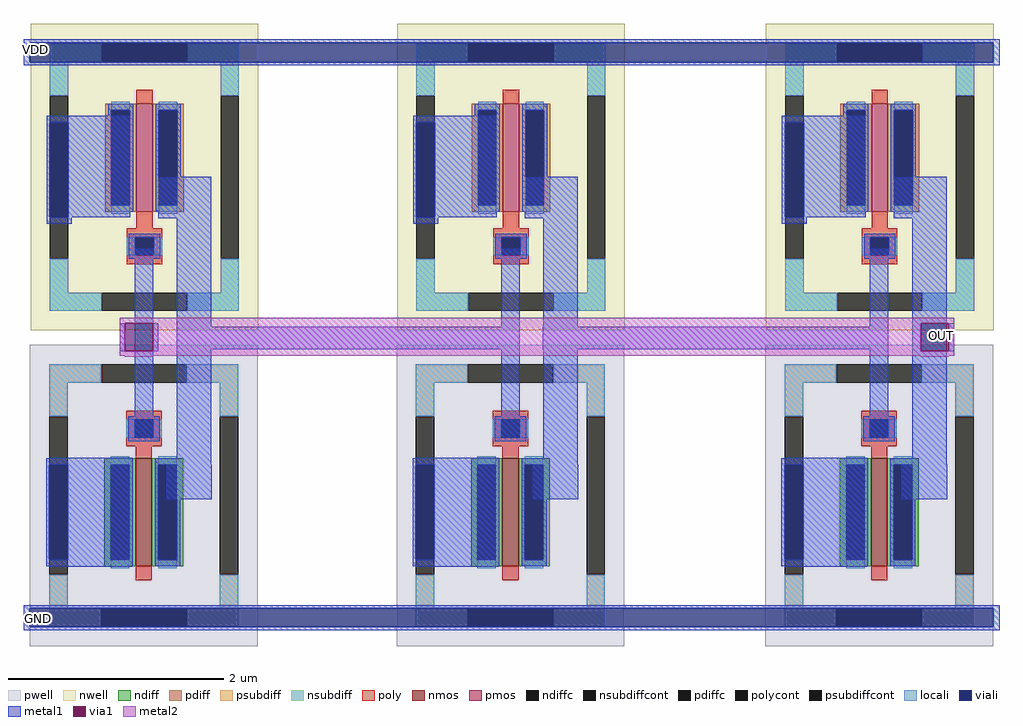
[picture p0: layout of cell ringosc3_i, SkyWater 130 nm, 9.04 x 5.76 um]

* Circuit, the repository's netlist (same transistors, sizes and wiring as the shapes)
** sch_path: /home/fauzann/latiahan1/ringosc3_i.sch
.subckt ringosc3_i vdd gnd out
*.PININFO vdd:B gnd:B out:O
x1 vdd out net1 gnd inverter1
x2 vdd net1 net2 gnd inverter1
x3 vdd net2 out gnd inverter1
.ends

* expanding   symbol:  inverter1.sym # of pins=4
** sym_path: /home/fauzann/latiahan1/inverter1.sym
** sch_path: /home/fauzann/latiahan1/inverter1.sch
.subckt inverter1 vdd in out gnd
*.PININFO vdd:I in:I gnd:I out:O
XM2 out in vdd vdd sky130_fd_pr__pfet_01v8 L=0.15 W=1 nf=1 m=1
XM1 out in gnd gnd sky130_fd_pr__nfet_01v8 L=0.15 W=1 nf=1 m=1
.ends

.end

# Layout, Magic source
magic
tech sky130A
magscale 1 2
<< viali >>
rect 0 1082 1784 1118
rect 0 36 1784 70
<< metal1 >>
rect -12 1118 1796 1124
rect -12 1082 0 1118
rect 1784 1082 1796 1118
rect -12 1076 1796 1082
rect 166 546 176 598
rect 228 546 238 598
rect 272 550 906 592
rect 950 550 1590 592
rect 1640 546 1650 598
rect 1702 546 1712 598
rect -12 70 1796 76
rect -12 36 0 70
rect 1784 36 1796 70
rect -12 30 1796 36
<< via1 >>
rect 176 546 228 598
rect 1650 546 1702 598
<< metal2 >>
rect 166 598 1712 608
rect 166 546 176 598
rect 228 546 1650 598
rect 1702 546 1712 598
rect 166 538 1712 546
rect 176 536 228 538
rect 1650 536 1702 538
use inverter1  x1
transform 1 0 54 0 1 616
box -54 -616 369 537
use inverter1  x2
transform 1 0 733 0 1 616
box -54 -616 369 537
use inverter1  x3
transform 1 0 1416 0 1 616
box -54 -616 369 537
<< labels >>
flabel viali 10 1106 10 1106 7 FreeSans 800 0 0 0 VDD
port 1 w
flabel viali 16 52 16 52 7 FreeSans 800 0 0 0 GND
port 2 w
flabel via1 1688 576 1688 576 3 FreeSans 800 0 0 0 OUT
port 3 e
<< end >>

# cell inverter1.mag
magic
tech sky130A
magscale 1 2
<< viali >>
rect -17 179 17 355
rect -18 -456 16 -280
<< metal1 >>
rect -23 355 132 367
rect -23 179 -17 355
rect 17 179 132 355
rect 218 253 282 254
rect -23 167 23 179
rect 184 177 282 253
rect 140 -230 174 120
rect -18 -268 135 -267
rect -24 -280 135 -268
rect 218 -280 282 177
rect -24 -456 -18 -280
rect 16 -456 135 -280
rect 198 -344 283 -280
rect -24 -468 135 -456
rect -18 -469 135 -468
use sky130_fd_pr__nfet_01v8_64Z3AY  XM1
transform 1 0 157 0 1 -337
box -211 -279 211 279
use sky130_fd_pr__pfet_01v8_LGS3BL  XM2
transform 1 0 158 0 1 253
box -211 -284 211 284
<< labels >>
flabel metal1 27 268 27 268 0 FreeSans 160 0 0 0 VDD
port 1 nsew
flabel metal1 26 -373 26 -373 0 FreeSans 160 0 0 0 GND
port 2 nsew
flabel metal1 249 -55 249 -55 0 FreeSans 160 0 0 0 OUT
port 3 nsew
flabel metal1 157 -53 157 -53 0 FreeSans 160 0 0 0 IN
port 4 nsew
<< end >>

# cell sky130_fd_pr__nfet_01v8_64Z3AY: kit device sky130_fd_pr__nfet_01v8, w 1.0 l 0.15 m 1 nf 1 diffcov 100 polycov 100 guard 1 glc 1 grc 1 gtc 1 gbc 1 tbcov 100 rlcov 100 topc 1 botc 0 poverlap 0 doverlap 1 lmin 0.15 wmin 0.42 compatible {sky130_fd_pr__nfet_01v8 sky130_fd_pr__nfet_01v8_lvt sky130_fd_bs_flash__special_sonosfet_star sky130_fd_pr__nfet_g5v0d10v5 sky130_fd_pr__nfet_05v0_nvt sky130_fd_pr__nfet_03v3_nvt} full_metal 1 viasrc 100 viadrn 100 viagate 100 viagb 0 viagr 0 viagl 0 viagt 0

# cell sky130_fd_pr__pfet_01v8_LGS3BL: kit device sky130_fd_pr__pfet_01v8, w 1.0 l 0.15 m 1 nf 1 diffcov 100 polycov 100 guard 1 glc 1 grc 1 gtc 1 gbc 1 tbcov 100 rlcov 100 topc 0 botc 1 poverlap 0 doverlap 1 lmin 0.15 wmin 0.42 compatible {sky130_fd_pr__pfet_01v8 sky130_fd_pr__pfet_01v8_lvt sky130_fd_pr__pfet_01v8_hvt sky130_fd_pr__pfet_g5v0d10v5} full_metal 1 viasrc 100 viadrn 100 viagate 100 viagb 0 viagr 0 viagl 0 viagt 0
